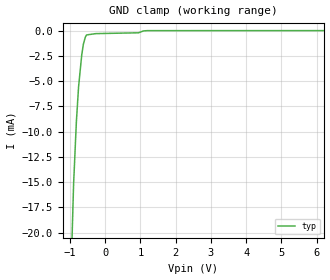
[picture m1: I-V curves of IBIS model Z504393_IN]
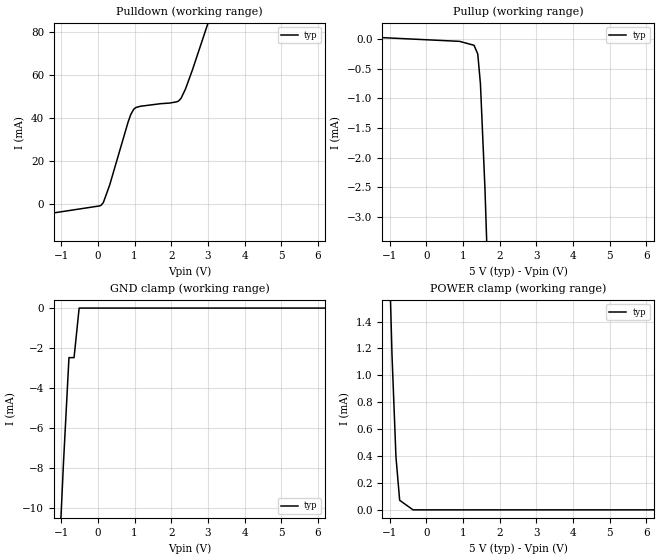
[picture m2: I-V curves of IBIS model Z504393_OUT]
| YOU ARE ONLY AUTHORIZED TO USE THIS SOFTWARE
| ACCORDING TO LICENSOR'S LICENSE RESTRICTIONS.
[IBIS Ver] 3.1
[File Name] sn54ls161aj.ibs
[File Rev] 2.0
[Source] Measured and created by ICX Technology
[Date] Friday 7/14/00 9:08:13 AM
[Copyright]
| (C) COPYRIGHT 1993-2000
| MENTOR GRAPHICS CORPORATION
| ICX STANDARD LIBRARY, ICX PROJECT MODELING,
| ICX CUSTOM MODELING, ICX VENDOR MODEL
| ALL RIGHTS RESERVED.
| THE FOLLOWING ARE TRADEMARKS OR SERVICE MARKS OF
| MENTOR GRAPHICS CORPORATION:ICX (R), ICX STANDARD
| LIBRARY(R), ICX PROJECT MODELING(R), ICX CUSTOM
| MODELING(R), qualityIBIS(TM), MODELVIEWER(TM),
| AND MODELEDITOR(TM)
| ALL COPIES OF SOFTWARE, INCLUDING BUT NOT LIMITED TO
| ANY MODIFICATIONS, ENHANCEMENTS OR DERIVATIVE WORKS,
| MUST CONTAIN ALL MENTOR GRAPHICS CORPORATION'S
| NOTICES AND LEGENDS, INCLUDING THOSE EMBEDDED IN
| SOFTWARE AND THOSE AFFIXED TO SOFTWARE MEDIUM
| AND CONTAINER, AS RECEIVED FROM MENTOR GRAPHICS
| CORPORATION.
|  ZAP Model Builder 2.7
[Component] SN54LS161AJ
[Manufacturer] OnSemiconductor
[Package]
| variable   typ   min   max
R_pkg  .212ohms NA NA
L_pkg  4.758nH NA NA
C_pkg  1.944pF NA NA
[Pin] signal_name  model_name  R_pin  L_pin C_pin
1 _CLR Z504393_IN .224 7.258n 2.683p
2 CLK Z504393_IN .216 5.258n 2.19p
3 A Z504393_IN .208 3.758n 1.697p
4 B Z504393_IN .2 2.758n 1.204p
5 C Z504393_IN .2 2.758n 1.204p
6 D Z504393_IN .208 3.758n 1.697p
7 ENP Z504393_IN .216 5.258n 2.19p
8 GND GND .224 7.258n 2.683p
9 _LOAD Z504393_IN .224 7.258n 2.683p
10 ENT Z504393_IN .216 5.258n 2.19p
11 QD Z504393_OUT .208 3.758n 1.697p
12 QC Z504393_OUT .2 2.758n 1.204p
13 QB Z504393_OUT .2 2.758n 1.204p
14 QA Z504393_OUT .208 3.758n 1.697p
15 RCO Z504393_OUT .216 5.258n 2.19p
16 VCC POWER .224 7.258n 2.683p
| Models and submodels in the file (2): Z504393_IN (Input), Z504393_OUT (Output)
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| (C) COPYRIGHT 1993-2000
| MENTOR GRAPHICS CORPORATION
| ICX STANDARD LIBRARY, ICX PROJECT MODELING,
| ICX CUSTOM MODELING, ICX VENDOR MODEL
| ALL RIGHTS RESERVED.
| THE FOLLOWING ARE TRADEMARKS OR SERVICE MARKS OF
| MENTOR GRAPHICS CORPORATION:ICX (R), ICX STANDARD
| LIBRARY(R), ICX PROJECT MODELING(R), ICX CUSTOM
| MODELING(R), qualityIBIS(TM), MODELVIEWER(TM),
| AND MODELEDITOR(TM)
| ALL COPIES OF SOFTWARE, INCLUDING BUT NOT LIMITED TO
| ANY MODIFICATIONS, ENHANCEMENTS OR DERIVATIVE WORKS,
| MUST CONTAIN ALL MENTOR GRAPHICS CORPORATION'S
| NOTICES AND LEGENDS, INCLUDING THOSE EMBEDDED IN
| SOFTWARE AND THOSE AFFIXED TO SOFTWARE MEDIUM
| AND CONTAINER, AS RECEIVED FROM MENTOR GRAPHICS
| CORPORATION.
| Model Application Version 1.89 2/18/99.
[Model] Z504393_IN
Model_type Input
Vinl = 800.0mV
Vinh = 2.000V
C_comp 4.000pF NA NA
| variable typ   min   max
[Voltage Range] 5.000V NA NA
[GND Clamp Reference] 0.000V NA NA
[POWER Clamp Reference] 5.000V NA NA
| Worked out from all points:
|   GND clamp passes 1 mA (typ) near -0.59 V on its own axis
[GND Clamp]
-5V       -680.5mA   NA         NA
-1.055V   -34.92mA   NA         NA
-893.5mV  -15.22mA   NA         NA
-815.3mV  -9.083mA   NA         NA
-752mV    -5.558mA   NA         NA
-662mV    -2.405mA   NA         NA
-615.1mV  -1.338mA   NA         NA
-562.2mV  -665.5uA   NA         NA
-527.3mV  -435.8uA   NA         NA
947mV     -221.7uA   NA         NA
1.187V    -8.2uA     NA         NA
10V       -2.292uA   NA         NA
[POWER Clamp]
-5V       0A         NA         NA
10V       0A         NA         NA
| (C) COPYRIGHT 1993-2000
| MENTOR GRAPHICS CORPORATION
| ICX STANDARD LIBRARY, ICX PROJECT MODELING,
| ICX CUSTOM MODELING, ICX VENDOR MODEL
| ALL RIGHTS RESERVED.
| THE FOLLOWING ARE TRADEMARKS OR SERVICE MARKS OF
| MENTOR GRAPHICS CORPORATION:ICX (R), ICX STANDARD
| LIBRARY(R), ICX PROJECT MODELING(R), ICX CUSTOM
| MODELING(R), qualityIBIS(TM), MODELVIEWER(TM),
| AND MODELEDITOR(TM)
| ALL COPIES OF SOFTWARE, INCLUDING BUT NOT LIMITED TO
| ANY MODIFICATIONS, ENHANCEMENTS OR DERIVATIVE WORKS,
| MUST CONTAIN ALL MENTOR GRAPHICS CORPORATION'S
| NOTICES AND LEGENDS, INCLUDING THOSE EMBEDDED IN
| SOFTWARE AND THOSE AFFIXED TO SOFTWARE MEDIUM
| AND CONTAINER, AS RECEIVED FROM MENTOR GRAPHICS
| CORPORATION.
| Model Application Version 1.89 2/18/99.
[Model] Z504393_OUT
Model_type Output
Vref=5.000V
Rref=2.000kohms
Cref=15.00pF
Vmeas=1.300V
C_comp 8.000pF NA NA
| variable typ   min   max
[Voltage Range] 5.000V NA NA
[POWER Clamp Reference] 5.000V NA NA
[Pullup Reference] 5.000V NA NA
[Pulldown Reference] 0.000V NA NA
[GND Clamp Reference] 0.000V NA NA
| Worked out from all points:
|   slope of the pulldown table from 0 to 0.75 V, typ, clamps not added: 21.6 ohm
|   slope of the pullup table from 0 to 0.75 V, typ, clamps not added: 33.5 kohm
|   GND clamp passes 1 mA (typ) near -0.57 V on its own axis
|   POWER clamp passes 1 mA (typ) near -0.92 V on its own axis
[GND Clamp]
-5V       -188.9mA   NA         NA
-1.128V   -15.34mA   NA         NA
-937.2mV  -7.752mA   NA         NA
-787mV    -2.475mA   NA         NA
-648.3mV  -2.475mA   NA         NA
-509.5mV  0A         NA         NA
10V       0A         NA         NA
[Pulldown]
-5V       -14.16mA   NA         NA
87.89mV   -770.5uA   NA         NA
151.4mV   549uA      NA         NA
322.3mV   8.629mA    NA         NA
825.2mV   37.93mA    NA         NA
898.7mV   41.48mA    NA         NA
979.6mV   43.92mA    NA         NA
1.159V    45.28mA    NA         NA
2.212V    47.9mA     NA         NA
2.388V    53.22mA    NA         NA
2.578V    62.09mA    NA         NA
10V       442.2mA    NA         NA
[Pullup]
-5V       136.8uA    NA         NA
904mV     -39.26uA   NA         NA
1.299V    -105.4uA   NA         NA
1.401V    -251.9uA   NA         NA
1.474V    -757.1uA   NA         NA
1.597V    -2.517mA   NA         NA
10V       -160mA     NA         NA
[POWER Clamp]
-5V       47.95mA    NA         NA
-1.102V   2.785mA    NA         NA
-938mV    1.154mA    NA         NA
-830mV    393.5uA    NA         NA
-729mV    71.25uA    NA         NA
-364.5mV  0A         NA         NA
10V       0A         NA         NA
[Ramp]
| variable typ min max
dV/dt_r 1.849/8.990n NA NA
dV/dt_f 1.849/2.734n NA NA
R_load = 500.0Ohms
